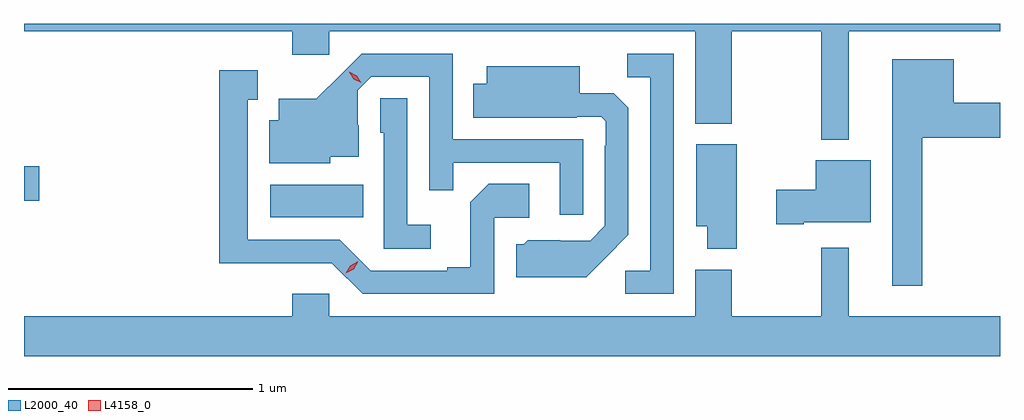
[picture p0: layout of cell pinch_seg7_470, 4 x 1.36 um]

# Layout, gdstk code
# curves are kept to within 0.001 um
import gdstk
lib = gdstk.Library(unit=1e-6, precision=1e-09)
def R(c, l, rs):  # rectangles x0, y0, x1, y1
    for r in rs: c.add(gdstk.rectangle(r[:2], r[2:], *l))
def P(c, l, *ps):  # polygons
    for p in ps: c.add(gdstk.Polygon(p, *l))
L2000_40 = (2000, 40)
L4158_0 = (4158, 0)

pinch_seg7_470 = lib.new_cell('pinch_seg7_470')
R(pinch_seg7_470, L2000_40, [(180.444,1081.106,180.824,1081.24), (179.434,1081.174,179.497,1081.316)])
P(pinch_seg7_470, L2000_40, [(182.815,1081.868),(183.434,1081.868),(183.434,1081.9),(179.434,1081.9),(179.434,1081.868),(180.533,1081.868),(180.533,1081.773),(180.684,1081.773),(180.684,1081.868),(182.186,1081.868),(182.186,1081.49),(182.334,1081.49),(182.334,1081.868),(182.701,1081.868),(182.701,1081.424),(182.815,1081.424)],
  [(181.725,1081.425),(181.191,1081.425),(181.191,1081.776),(180.818,1081.776),(180.631,1081.591),(180.479,1081.591),(180.479,1081.504),(180.44,1081.504),(180.44,1081.328),(180.69,1081.328),(180.69,1081.355),(180.805,1081.355),(180.805,1081.484),(180.801,1081.484),(180.801,1081.626),(180.858,1081.683),(181.095,1081.683),(181.095,1081.216),(181.193,1081.216),(181.193,1081.329),(181.629,1081.329),(181.629,1081.116),(181.725,1081.116)],
  [(182.097,1081.776),(181.906,1081.776),(181.906,1081.681),(182.001,1081.681),(182.001,1080.888),(181.899,1080.888),(181.899,1080.792),(182.097,1080.792)],
  [(183.115,1081.433),(183.434,1081.433),(183.434,1081.575),(183.244,1081.575),(183.244,1081.753),(182.993,1081.753),(182.993,1080.825),(183.115,1080.825)],
  [(181.819,1080.941),(181.911,1081.034),(181.911,1081.556),(181.852,1081.615),(181.711,1081.615),(181.711,1081.726),(181.331,1081.726),(181.331,1081.654),(181.276,1081.654),(181.276,1081.514),(181.7,1081.514),(181.7,1081.518),(181.8,1081.518),(181.818,1081.5),(181.818,1081.4),(181.815,1081.4),(181.815,1081.071),(181.755,1081.011),(181.498,1081.012),(181.482,1080.996),(181.451,1080.996),(181.451,1080.86),(181.739,1080.86)],
  [(181.362,1081.104),(181.504,1081.104),(181.504,1081.244),(181.339,1081.244),(181.263,1081.168),(181.263,1080.901),(181.169,1080.901),(181.169,1080.888),(180.855,1080.888),(180.729,1081.014),(180.352,1081.014),(180.352,1081.587),(180.391,1081.587),(180.391,1081.708),(180.234,1081.708),(180.234,1080.917),(180.696,1080.918),(180.822,1080.792),(181.362,1080.792)],
  [(181.102,1081.075),(181.005,1081.075),(181.005,1081.595),(180.894,1081.595),(180.894,1081.452),(180.909,1081.452),(180.909,1080.978),(181.102,1080.978)],
  [(182.356,1081.405),(182.189,1081.405),(182.189,1081.07),(182.234,1081.07),(182.234,1080.977),(182.356,1080.977)],
  [(182.629,1081.085),(182.905,1081.085),(182.905,1081.339),(182.678,1081.339),(182.678,1081.22),(182.517,1081.22),(182.517,1081.078),(182.629,1081.078)],
  [(183.434,1080.7),(182.815,1080.7),(182.815,1080.982),(182.701,1080.982),(182.701,1080.7),(182.334,1080.7),(182.334,1080.892),(182.186,1080.892),(182.186,1080.7),(180.684,1080.7),(180.684,1080.793),(180.533,1080.793),(180.533,1080.7),(179.434,1080.7),(179.434,1080.536),(183.434,1080.536)])
P(pinch_seg7_470, L4158_0, [(180.816,1081.657),(180.785,1081.672),(180.767,1081.701),(180.767,1081.702),(180.767,1081.702),(180.798,1081.687),(180.816,1081.657),(180.816,1081.657)],
  [(180.753,1080.876),(180.753,1080.876),(180.771,1080.908),(180.803,1080.927),(180.803,1080.927),(180.803,1080.927),(180.785,1080.894),(180.753,1080.876)])

lib.write_gds('pinch_seg7_470.gds')
